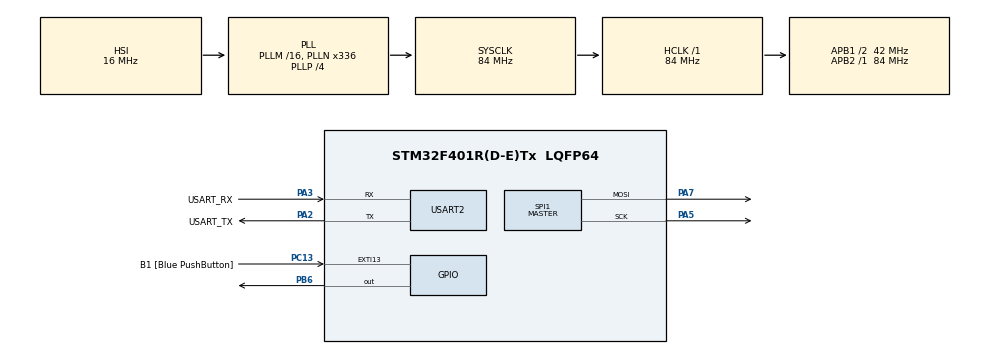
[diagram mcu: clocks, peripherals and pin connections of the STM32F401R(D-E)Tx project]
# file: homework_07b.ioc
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Dma.Request0=SPI1_TX
Dma.SPI1_TX.0.Direction=DMA_MEMORY_TO_PERIPH
Dma.SPI1_TX.0.FIFOMode=DMA_FIFOMODE_DISABLE
Dma.SPI1_TX.0.Instance=DMA2_Stream3
Dma.SPI1_TX.0.MemDataAlignment=DMA_MDATAALIGN_BYTE
Dma.SPI1_TX.0.MemInc=DMA_MINC_ENABLE
Dma.SPI1_TX.0.Mode=DMA_NORMAL
Dma.SPI1_TX.0.PeriphDataAlignment=DMA_PDATAALIGN_BYTE
Dma.SPI1_TX.0.PeriphInc=DMA_PINC_DISABLE
Dma.SPI1_TX.0.Priority=DMA_PRIORITY_HIGH
Mcu.Family=STM32F4
Mcu.Name=STM32F401R(D-E)Tx
Mcu.Package=LQFP64
NVIC.DMA2_Stream3_IRQn=true\:0\:0\:false\:false\:true\:false\:true\:true
NVIC.PriorityGroup=NVIC_PRIORITYGROUP_0
NVIC.TIM1_UP_TIM10_IRQn=true\:0\:0\:false\:false\:true\:true\:true\:true
PA13.GPIO_Label=TMS
PA13.Mode=Serial_Wire
PA13.Signal=SYS_JTMS-SWDIO
PA14.GPIO_Label=TCK
PA14.Mode=Serial_Wire
PA14.Signal=SYS_JTCK-SWCLK
PA2.GPIO_Label=USART_TX
PA2.GPIO_Mode=GPIO_MODE_AF_PP
PA2.GPIO_PuPd=GPIO_NOPULL
PA2.GPIO_Speed=GPIO_SPEED_FREQ_LOW
PA2.Mode=Asynchronous
PA2.Signal=USART2_TX
PA3.GPIO_Label=USART_RX
PA3.GPIO_Mode=GPIO_MODE_AF_PP
PA3.GPIO_PuPd=GPIO_NOPULL
PA3.GPIO_Speed=GPIO_SPEED_FREQ_LOW
PA3.Mode=Asynchronous
PA3.Signal=USART2_RX
PA5.Mode=TX_Only_Simplex_Unidirect_Master
PA5.Signal=SPI1_SCK
PA7.Mode=TX_Only_Simplex_Unidirect_Master
PA7.Signal=SPI1_MOSI
PB3.GPIO_Label=SWO
PB3.Signal=SYS_JTDO-SWO
PB6.Signal=GPIO_Output
PC13-ANTI_TAMP.GPIO_Label=B1 [Blue PushButton]
PC13-ANTI_TAMP.GPIO_ModeDefaultEXTI=GPIO_MODE_IT_FALLING
PC13-ANTI_TAMP.GPIO_PuPd=GPIO_NOPULL
PC13-ANTI_TAMP.Signal=GPXTI13
PC14-OSC32_IN.Mode=LSE-External-Oscillator
PC14-OSC32_IN.Signal=RCC_OSC32_IN
PC15-OSC32_OUT.Mode=LSE-External-Oscillator
PC15-OSC32_OUT.Signal=RCC_OSC32_OUT
PH0\ -\ OSC_IN.Mode=HSE-External-Clock-Source
PH0\ -\ OSC_IN.Signal=RCC_OSC_IN
PH1\ -\ OSC_OUT.Mode=HSE-External-Clock-Source
PH1\ -\ OSC_OUT.Signal=RCC_OSC_OUT
ProjectManager.HeapSize=0x200
ProjectManager.StackSize=0x400
ProjectManager.TargetToolchain=STM32CubeIDE
RCC.48MHZClocksFreq_Value=48000000
RCC.AHBFreq_Value=84000000
RCC.APB1CLKDivider=RCC_HCLK_DIV2
RCC.APB1Freq_Value=42000000
RCC.APB1TimFreq_Value=84000000
RCC.APB2Freq_Value=84000000
RCC.APB2TimFreq_Value=84000000
RCC.CortexFreq_Value=84000000
RCC.HCLKFreq_Value=84000000
RCC.HSE_VALUE=8000000
RCC.HSI_VALUE=16000000
RCC.PLLN=336
RCC.PLLP=RCC_PLLP_DIV4
RCC.PLLQ=7
RCC.SYSCLKFreq_VALUE=84000000
RCC.SYSCLKSource=RCC_SYSCLKSOURCE_PLLCLK
RCC.VCOOutputFreq_Value=336000000
SPI1.BaudRatePrescaler=SPI_BAUDRATEPRESCALER_4
SPI1.Direction=SPI_DIRECTION_2LINES
SPI1.Mode=SPI_MODE_MASTER
SPI1.VirtualType=VM_MASTER
TIM1.Period=10000-1
TIM1.Prescaler=8400-1
TIM10.Period=40-1
TIM10.Prescaler=8400-1
USART2.VirtualMode=VM_ASYNC
VP_TIM10_VS_ClockSourceINT.Mode=Enable_Timer
VP_TIM1_VS_ClockSourceINT.Mode=Internal
board=NUCLEO-F401RE

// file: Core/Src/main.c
/* USER CODE BEGIN Header */
/**
  ******************************************************************************
  * @file           : main.c
  * @brief          : Main program body
  ******************************************************************************
  * @attention
  *
  * Copyright (c) 2023 STMicroelectronics.
  * All rights reserved.
  *
  * This software is licensed under terms that can be found in the LICENSE file
  * in the root directory of this software component.
  * If no LICENSE file comes with this software, it is provided AS-IS.
  *
  ******************************************************************************
  */
/* USER CODE END Header */
#include "main.h"

/* USER CODE BEGIN PD */
#define RCLK_PIN GPIOB, GPIO_PIN_6
/* USER CODE END PD */

SPI_HandleTypeDef hspi1;
DMA_HandleTypeDef hdma_spi1_tx;

TIM_HandleTypeDef htim1;
TIM_HandleTypeDef htim10;

UART_HandleTypeDef huart2;

/* USER CODE BEGIN PV */
volatile int iteration = 0;
volatile int column_index = 0;
volatile int change_letter = 0;

volatile uint8_t matrix[5][2] = {};

volatile uint8_t matrix_A[5][2] = {
	  {31,16},
	  {36, 8},
	  {68, 4},
	  {36, 2},
	  {31, 1}
};

volatile uint8_t matrix_B[5][2] = {
	  {127,16},
	  {73, 8},
	  {73, 4},
	  {73, 2},
	  {54, 1}
};

volatile uint8_t matrix_C[5][2] = {
	  {62,16},
	  {65, 8},
	  {65, 4},
	  {65, 2},
	  {34, 1}
};
/* USER CODE END PV */

void SystemClock_Config(void);
static void MX_GPIO_Init(void);
static void MX_DMA_Init(void);
static void MX_USART2_UART_Init(void);
static void MX_SPI1_Init(void);
static void MX_TIM1_Init(void);
static void MX_TIM10_Init(void);
/* USER CODE BEGIN PFP */
void HAL_TIM_PeriodElapsedCallback(TIM_HandleTypeDef *htim);
void HAL_SPI_TxCpltCallback(SPI_HandleTypeDef *hspi);
/* USER CODE END PFP */

int main(void)
{

  /* MCU Configuration--------------------------------------------------------*/

  /* Reset of all peripherals, Initializes the Flash interface and the Systick. */
  HAL_Init();

  /* Configure the system clock */
  SystemClock_Config();

  /* Initialize all configured peripherals */
  MX_GPIO_Init();
  MX_DMA_Init();
  MX_USART2_UART_Init();
  MX_SPI1_Init();
  MX_TIM1_Init();
  MX_TIM10_Init();
  /* USER CODE BEGIN 2 */
  HAL_TIM_Base_Start_IT(&htim1);
  HAL_TIM_Base_Start_IT(&htim10);
  memcpy(matrix, matrix_B, sizeof(matrix));
  /* USER CODE END 2 */

  /* Infinite loop */
  /* USER CODE BEGIN WHILE */
  while (1)
  {
	  if(change_letter) {
		  change_letter = 0;
		  switch(iteration) {
			 case 0: memcpy(matrix, matrix_A, sizeof(matrix));
						break;
			 case 1: memcpy(matrix, matrix_B, sizeof(matrix));
						break;
			 case 2: memcpy(matrix, matrix_C, sizeof(matrix));
						break;
		  }
		  iteration++;
	      if(iteration > 2) iteration = 0;
	  }
    /* USER CODE END WHILE */

  }
}

void SystemClock_Config(void)
{
  RCC_OscInitTypeDef RCC_OscInitStruct = {0};
  RCC_ClkInitTypeDef RCC_ClkInitStruct = {0};

  /** Configure the main internal regulator output voltage
  */
  __HAL_RCC_PWR_CLK_ENABLE();
  __HAL_PWR_VOLTAGESCALING_CONFIG(PWR_REGULATOR_VOLTAGE_SCALE2);

  /** Initializes the RCC Oscillators according to the specified parameters
  * in the RCC_OscInitTypeDef structure.
  */
  RCC_OscInitStruct.OscillatorType = RCC_OSCILLATORTYPE_HSI;
  RCC_OscInitStruct.HSIState = RCC_HSI_ON;
  RCC_OscInitStruct.HSICalibrationValue = RCC_HSICALIBRATION_DEFAULT;
  RCC_OscInitStruct.PLL.PLLState = RCC_PLL_ON;
  RCC_OscInitStruct.PLL.PLLSource = RCC_PLLSOURCE_HSI;
  RCC_OscInitStruct.PLL.PLLM = 16;
  RCC_OscInitStruct.PLL.PLLN = 336;
  RCC_OscInitStruct.PLL.PLLP = RCC_PLLP_DIV4;
  RCC_OscInitStruct.PLL.PLLQ = 7;
  if (HAL_RCC_OscConfig(&RCC_OscInitStruct) != HAL_OK)
  {
    Error_Handler();
  }

  /** Initializes the CPU, AHB and APB buses clocks
  */
  RCC_ClkInitStruct.ClockType = RCC_CLOCKTYPE_HCLK|RCC_CLOCKTYPE_SYSCLK
                              |RCC_CLOCKTYPE_PCLK1|RCC_CLOCKTYPE_PCLK2;
  RCC_ClkInitStruct.SYSCLKSource = RCC_SYSCLKSOURCE_PLLCLK;
  RCC_ClkInitStruct.AHBCLKDivider = RCC_SYSCLK_DIV1;
  RCC_ClkInitStruct.APB1CLKDivider = RCC_HCLK_DIV2;
  RCC_ClkInitStruct.APB2CLKDivider = RCC_HCLK_DIV1;

  if (HAL_RCC_ClockConfig(&RCC_ClkInitStruct, FLASH_LATENCY_2) != HAL_OK)
  {
    Error_Handler();
  }
}

static void MX_SPI1_Init(void)
{

  /* SPI1 parameter configuration*/
  hspi1.Instance = SPI1;
  hspi1.Init.Mode = SPI_MODE_MASTER;
  hspi1.Init.Direction = SPI_DIRECTION_2LINES;
  hspi1.Init.DataSize = SPI_DATASIZE_8BIT;
  hspi1.Init.CLKPolarity = SPI_POLARITY_LOW;
  hspi1.Init.CLKPhase = SPI_PHASE_1EDGE;
  hspi1.Init.NSS = SPI_NSS_SOFT;
  hspi1.Init.BaudRatePrescaler = SPI_BAUDRATEPRESCALER_4;
  hspi1.Init.FirstBit = SPI_FIRSTBIT_MSB;
  hspi1.Init.TIMode = SPI_TIMODE_DISABLE;
  hspi1.Init.CRCCalculation = SPI_CRCCALCULATION_DISABLE;
  hspi1.Init.CRCPolynomial = 10;
  if (HAL_SPI_Init(&hspi1) != HAL_OK)
  {
    Error_Handler();
  }

}

static void MX_TIM1_Init(void)
{

  TIM_ClockConfigTypeDef sClockSourceConfig = {0};
  TIM_MasterConfigTypeDef sMasterConfig = {0};

  htim1.Instance = TIM1;
  htim1.Init.Prescaler = 8400-1;
  htim1.Init.CounterMode = TIM_COUNTERMODE_UP;
  htim1.Init.Period = 10000-1;
  htim1.Init.ClockDivision = TIM_CLOCKDIVISION_DIV1;
  htim1.Init.RepetitionCounter = 0;
  htim1.Init.AutoReloadPreload = TIM_AUTORELOAD_PRELOAD_DISABLE;
  if (HAL_TIM_Base_Init(&htim1) != HAL_OK)
  {
    Error_Handler();
  }
  sClockSourceConfig.ClockSource = TIM_CLOCKSOURCE_INTERNAL;
  if (HAL_TIM_ConfigClockSource(&htim1, &sClockSourceConfig) != HAL_OK)
  {
    Error_Handler();
  }
  sMasterConfig.MasterOutputTrigger = TIM_TRGO_RESET;
  sMasterConfig.MasterSlaveMode = TIM_MASTERSLAVEMODE_DISABLE;
  if (HAL_TIMEx_MasterConfigSynchronization(&htim1, &sMasterConfig) != HAL_OK)
  {
    Error_Handler();
  }

}

static void MX_TIM10_Init(void)
{

  htim10.Instance = TIM10;
  htim10.Init.Prescaler = 8400-1;
  htim10.Init.CounterMode = TIM_COUNTERMODE_UP;
  htim10.Init.Period = 40-1;
  htim10.Init.ClockDivision = TIM_CLOCKDIVISION_DIV1;
  htim10.Init.AutoReloadPreload = TIM_AUTORELOAD_PRELOAD_DISABLE;
  if (HAL_TIM_Base_Init(&htim10) != HAL_OK)
  {
    Error_Handler();
  }

}

static void MX_USART2_UART_Init(void)
{

  huart2.Instance = USART2;
  huart2.Init.BaudRate = 115200;
  huart2.Init.WordLength = UART_WORDLENGTH_8B;
  huart2.Init.StopBits = UART_STOPBITS_1;
  huart2.Init.Parity = UART_PARITY_NONE;
  huart2.Init.Mode = UART_MODE_TX_RX;
  huart2.Init.HwFlowCtl = UART_HWCONTROL_NONE;
  huart2.Init.OverSampling = UART_OVERSAMPLING_16;
  if (HAL_UART_Init(&huart2) != HAL_OK)
  {
    Error_Handler();
  }

}

static void MX_DMA_Init(void)
{

  /* DMA controller clock enable */
  __HAL_RCC_DMA2_CLK_ENABLE();

  /* DMA interrupt init */
  /* DMA2_Stream3_IRQn interrupt configuration */
  HAL_NVIC_SetPriority(DMA2_Stream3_IRQn, 0, 0);
  HAL_NVIC_EnableIRQ(DMA2_Stream3_IRQn);

}

static void MX_GPIO_Init(void)
{
  GPIO_InitTypeDef GPIO_InitStruct = {0};

  /* GPIO Ports Clock Enable */
  __HAL_RCC_GPIOC_CLK_ENABLE();
  __HAL_RCC_GPIOH_CLK_ENABLE();
  __HAL_RCC_GPIOA_CLK_ENABLE();
  __HAL_RCC_GPIOB_CLK_ENABLE();

  /*Configure GPIO pin Output Level */
  HAL_GPIO_WritePin(GPIOB, GPIO_PIN_6, GPIO_PIN_RESET);

  /*Configure GPIO pin : B1_Pin */
  GPIO_InitStruct.Pin = B1_Pin;
  GPIO_InitStruct.Mode = GPIO_MODE_IT_FALLING;
  GPIO_InitStruct.Pull = GPIO_NOPULL;
  HAL_GPIO_Init(B1_GPIO_Port, &GPIO_InitStruct);

  /*Configure GPIO pin : PB6 */
  GPIO_InitStruct.Pin = GPIO_PIN_6;
  GPIO_InitStruct.Mode = GPIO_MODE_OUTPUT_PP;
  GPIO_InitStruct.Pull = GPIO_NOPULL;
  GPIO_InitStruct.Speed = GPIO_SPEED_FREQ_LOW;
  HAL_GPIO_Init(GPIOB, &GPIO_InitStruct);

}

/* USER CODE BEGIN 4 */
void HAL_TIM_PeriodElapsedCallback(TIM_HandleTypeDef *htim) {
	if(htim == &htim10) {
		HAL_SPI_Transmit_DMA(&hspi1, matrix[column_index], sizeof(matrix[column_index]));
	} else if(htim == &htim1) {
		change_letter = 1;
	}
}

void HAL_SPI_TxCpltCallback(SPI_HandleTypeDef *hspi) {
	if(hspi != &hspi1) return;

	HAL_GPIO_WritePin(RCLK_PIN, GPIO_PIN_SET);		// manually trigger RCLK pin
	column_index++;
	if(column_index > 4) column_index = 0;
	HAL_GPIO_WritePin(RCLK_PIN, GPIO_PIN_RESET);
}
/* USER CODE END 4 */

void Error_Handler(void)
{
  __disable_irq();
  while (1)
  {
  }
}
